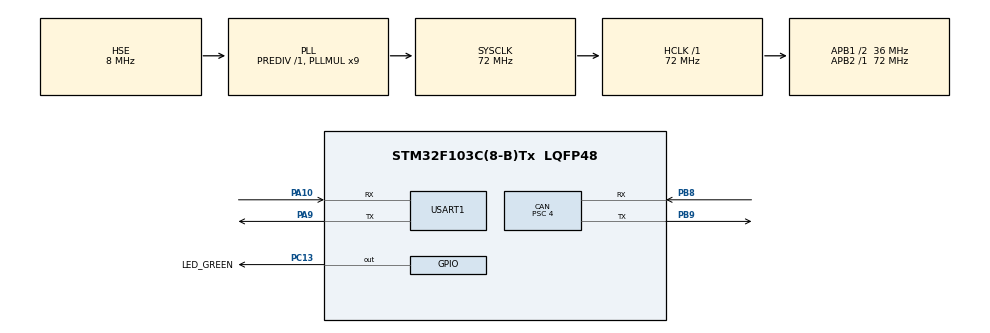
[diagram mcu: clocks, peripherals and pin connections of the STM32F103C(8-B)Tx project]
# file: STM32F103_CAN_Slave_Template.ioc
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CAN.ABOM=ENABLE
CAN.BS1=CAN_BS1_15TQ
CAN.BS2=CAN_BS2_2TQ
CAN.CalculateBaudRate=500000
CAN.CalculateTimeBit=2000
CAN.CalculateTimeQuantum=111.11111111111111
CAN.NART=ENABLE
CAN.Prescaler=4
FREERTOS.Tasks01=CanRxTask,24,256,StartCanRxTask,Default,NULL,Dynamic,NULL,NULL
Mcu.Family=STM32F1
Mcu.Name=STM32F103C(8-B)Tx
Mcu.Package=LQFP48
NVIC.PriorityGroup=NVIC_PRIORITYGROUP_4
NVIC.TIM4_IRQn=true\:15\:0\:false\:false\:true\:false\:false\:true\:true
NVIC.TimeBase=TIM4_IRQn
NVIC.TimeBaseIP=TIM4
NVIC.USB_LP_CAN1_RX0_IRQn=true\:5\:0\:false\:false\:true\:true\:true\:true\:true
PA10.Mode=Asynchronous
PA10.Signal=USART1_RX
PA13.Mode=Serial_Wire
PA13.Signal=SYS_JTMS-SWDIO
PA14.Mode=Serial_Wire
PA14.Signal=SYS_JTCK-SWCLK
PA9.Mode=Asynchronous
PA9.Signal=USART1_TX
PB8.Mode=CAN_Activate
PB8.Signal=CAN_RX
PB9.Mode=CAN_Activate
PB9.Signal=CAN_TX
PC13-TAMPER-RTC.GPIO_Label=LED_GREEN
PC13-TAMPER-RTC.Signal=GPIO_Output
PD0-OSC_IN.Mode=HSE-External-Oscillator
PD0-OSC_IN.Signal=RCC_OSC_IN
PD1-OSC_OUT.Mode=HSE-External-Oscillator
PD1-OSC_OUT.Signal=RCC_OSC_OUT
ProjectManager.HeapSize=0x200
ProjectManager.StackSize=0x400
ProjectManager.TargetToolchain=MDK-ARM V5.32
RCC.AHBFreq_Value=72000000
RCC.APB1CLKDivider=RCC_HCLK_DIV2
RCC.APB1Freq_Value=36000000
RCC.APB1TimFreq_Value=72000000
RCC.APB2Freq_Value=72000000
RCC.APB2TimFreq_Value=72000000
RCC.HCLKFreq_Value=72000000
RCC.PLLMUL=RCC_PLL_MUL9
RCC.PLLSourceVirtual=RCC_PLLSOURCE_HSE
RCC.SYSCLKFreq_VALUE=72000000
RCC.SYSCLKSource=RCC_SYSCLKSOURCE_PLLCLK
RCC.USBFreq_Value=72000000
USART1.VirtualMode=VM_ASYNC
VP_FREERTOS_VS_CMSIS_V2.Mode=CMSIS_V2
VP_SYS_VS_tim4.Mode=TIM4
board=custom

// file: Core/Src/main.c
/* USER CODE BEGIN Header */
/**
  ******************************************************************************
  * @file           : main.c
  * @brief          : Main program body
  ******************************************************************************
  * @attention
  *
  * Copyright (c) 2026 STMicroelectronics.
  * All rights reserved.
  *
  * This software is licensed under terms that can be found in the LICENSE file
  * in the root directory of this software component.
  * If no LICENSE file comes with this software, it is provided AS-IS.
  *
  ******************************************************************************
  */
/* USER CODE END Header */
#include "main.h"
#include "cmsis_os.h"
#include "can.h"
#include "usart.h"
#include "gpio.h"

void SystemClock_Config(void);
void MX_FREERTOS_Init(void);

/* USER CODE BEGIN 0 */

#include "stdio.h"
#include "usart.h"
int fputc(int ch, FILE *f) {
  HAL_UART_Transmit(&huart1, (uint8_t *)&ch, 1, 100);
  return ch;
}

/* USER CODE END 0 */

int main(void)
{

  /* MCU Configuration--------------------------------------------------------*/

  /* Reset of all peripherals, Initializes the Flash interface and the Systick. */
  HAL_Init();

  /* Configure the system clock */
  SystemClock_Config();

  /* Initialize all configured peripherals */
  MX_GPIO_Init();
  MX_CAN_Init();
  MX_USART1_UART_Init();
  /* USER CODE BEGIN 2 */

	CAN_FilterTypeDef sFilterConfig;
	sFilterConfig.FilterBank = 0;
	sFilterConfig.FilterMode = CAN_FILTERMODE_IDMASK;
	sFilterConfig.FilterScale = CAN_FILTERSCALE_32BIT;
	sFilterConfig.FilterIdHigh = 0x0000;
	sFilterConfig.FilterIdLow = 0x0000;
	sFilterConfig.FilterMaskIdHigh = 0x0000; // 掩码=0，接收所有ID
	sFilterConfig.FilterMaskIdLow = 0x0000; // 掩码=0，接收所有ID
	sFilterConfig.FilterFIFOAssignment = CAN_RX_FIFO0;
	sFilterConfig.FilterActivation = ENABLE;
	HAL_CAN_ConfigFilter(&hcan, &sFilterConfig);
	HAL_CAN_Start(&hcan);
	HAL_CAN_ActivateNotification(&hcan, CAN_IT_RX_FIFO0_MSG_PENDING);

  printf("STM32F103 CAN Slave Start OK\r\n");
  printf("Filter: receive ID range 0x100 ~ 0x10F\r\n");

  /* USER CODE END 2 */

  /* Init scheduler */
  osKernelInitialize();  /* Call init function for freertos objects (in cmsis_os2.c) */
  MX_FREERTOS_Init();

  /* Start scheduler */
  osKernelStart();

  /* We should never get here as control is now taken by the scheduler */

  /* Infinite loop */
  while (1)
  {

  }
}

void SystemClock_Config(void)
{
  RCC_OscInitTypeDef RCC_OscInitStruct = {0};
  RCC_ClkInitTypeDef RCC_ClkInitStruct = {0};

  /** Initializes the RCC Oscillators according to the specified parameters
  * in the RCC_OscInitTypeDef structure.
  */
  RCC_OscInitStruct.OscillatorType = RCC_OSCILLATORTYPE_HSE;
  RCC_OscInitStruct.HSEState = RCC_HSE_ON;
  RCC_OscInitStruct.HSEPredivValue = RCC_HSE_PREDIV_DIV1;
  RCC_OscInitStruct.HSIState = RCC_HSI_ON;
  RCC_OscInitStruct.PLL.PLLState = RCC_PLL_ON;
  RCC_OscInitStruct.PLL.PLLSource = RCC_PLLSOURCE_HSE;
  RCC_OscInitStruct.PLL.PLLMUL = RCC_PLL_MUL9;
  if (HAL_RCC_OscConfig(&RCC_OscInitStruct) != HAL_OK)
  {
    Error_Handler();
  }

  /** Initializes the CPU, AHB and APB buses clocks
  */
  RCC_ClkInitStruct.ClockType = RCC_CLOCKTYPE_HCLK|RCC_CLOCKTYPE_SYSCLK
                              |RCC_CLOCKTYPE_PCLK1|RCC_CLOCKTYPE_PCLK2;
  RCC_ClkInitStruct.SYSCLKSource = RCC_SYSCLKSOURCE_PLLCLK;
  RCC_ClkInitStruct.AHBCLKDivider = RCC_SYSCLK_DIV1;
  RCC_ClkInitStruct.APB1CLKDivider = RCC_HCLK_DIV2;
  RCC_ClkInitStruct.APB2CLKDivider = RCC_HCLK_DIV1;

  if (HAL_RCC_ClockConfig(&RCC_ClkInitStruct, FLASH_LATENCY_2) != HAL_OK)
  {
    Error_Handler();
  }
}

void HAL_TIM_PeriodElapsedCallback(TIM_HandleTypeDef *htim)
{
  if (htim->Instance == TIM4)
  {
    HAL_IncTick();
  }
}

void Error_Handler(void)
{
  __disable_irq();
  while (1)
  {
  }
}

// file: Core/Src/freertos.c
/* USER CODE BEGIN Header */
/**
  ******************************************************************************
  * File Name          : freertos.c
  * Description        : Code for freertos applications
  ******************************************************************************
  * @attention
  *
  * Copyright (c) 2026 STMicroelectronics.
  * All rights reserved.
  *
  * This software is licensed under terms that can be found in the LICENSE file
  * in the root directory of this software component.
  * If no LICENSE file comes with this software, it is provided AS-IS.
  *
  ******************************************************************************
  */
/* USER CODE END Header */

#include "FreeRTOS.h"
#include "task.h"
#include "main.h"
#include "cmsis_os.h"

/* USER CODE BEGIN Includes */
#include "can.h"
#include "stdio.h"
/* USER CODE END Includes */

/* USER CODE BEGIN PTD */
// 报文ID定义
#define CAN_ID_THROTTLE  0x100  // 油门ADC数据
#define CAN_ID_TEMP_HUM  0x101  // 温湿度数据

// CAN接收数据结构体
typedef struct {
  uint16_t throttle_adc;   // ADC油门值 0~4095
  int16_t  temperature;    // 温度值，单位0.1℃（例：256表示25.6℃）
  uint16_t humidity;       // 湿度值，单位0.1%RH（例：605表示60.5%RH）
  uint32_t rx_timestamp;   // 接收时间戳
} CanRxData_t;

CanRxData_t can_rx_data; // 全局接收数据缓存
/* USER CODE END PTD */

/* USER CODE BEGIN Variables */
/* Definitions for LedTask */
osThreadId_t LedTaskHandle;
const osThreadAttr_t LedTask_attributes = {
  .name = "LedTask",
  .stack_size = 128 * 4,
  .priority = (osPriority_t) osPriorityLow,
};
/* USER CODE END Variables */
/* Definitions for CanRxTask */
osThreadId_t CanRxTaskHandle;
const osThreadAttr_t CanRxTask_attributes = {
  .name = "CanRxTask",
  .stack_size = 256 * 4,
  .priority = (osPriority_t) osPriorityNormal,
};

/* USER CODE BEGIN FunctionPrototypes */
void StartLedTask(void *argument);
/* USER CODE END FunctionPrototypes */

void StartCanRxTask(void *argument);

void MX_FREERTOS_Init(void); /* (MISRA C 2004 rule 8.1) */

void MX_FREERTOS_Init(void) {

  /* Create the thread(s) */
  /* creation of CanRxTask */
  CanRxTaskHandle = osThreadNew(StartCanRxTask, NULL, &CanRxTask_attributes);

  /* USER CODE BEGIN RTOS_THREADS */
  /* add threads, ... */
  /* 创建LED心跳任务 */
  LedTaskHandle = osThreadNew(StartLedTask, NULL, &LedTask_attributes);
  /* USER CODE END RTOS_THREADS */

}

void StartCanRxTask(void *argument)
{
  for(;;)
  {
    osDelay(1);
  }
}

/* USER CODE BEGIN Application */

/**
  * @brief  LED心跳任务函数
  * @param  argument: Not used
  * @retval None
  */
void StartLedTask(void *argument)
{
  for(;;)
  {
    // 假设LED接在PC13引脚，根据实际硬件修改引脚定义
    HAL_GPIO_TogglePin(GPIOC, GPIO_PIN_13);
    osDelay(500); // 500ms闪烁周期
  }
}

void HAL_CAN_RxFifo0MsgPendingCallback(CAN_HandleTypeDef *hcan)
{
  CAN_RxHeaderTypeDef rx_header;
  uint8_t rx_data[8];

  if (HAL_CAN_GetRxMessage(hcan, CAN_RX_FIFO0, &rx_header, rx_data) == HAL_OK)
  {
    /* 收到CAN报文就翻转LED，证明中断触发 */
    HAL_GPIO_TogglePin(GPIOC, GPIO_PIN_13);

    can_rx_data.rx_timestamp = HAL_GetTick();

    switch(rx_header.StdId)
    {
      case CAN_ID_THROTTLE:
        if(rx_header.DLC >= 4)
        {
          // F407发送：字节2=ADC高8位，字节3=ADC低8位
          can_rx_data.throttle_adc = (uint16_t)(rx_data[2] << 8 | rx_data[3]);
          printf("[%lu] Throttle ADC: %d (0x%04X)\r\n",
                 can_rx_data.rx_timestamp,
                 can_rx_data.throttle_adc,
                 can_rx_data.throttle_adc);
        }
        break;

      case CAN_ID_TEMP_HUM:
        if(rx_header.DLC >= 4)
        {
          // 匹配F407的大端格式：温度高字节在字节0，低字节在字节1
          // 湿度高字节在字节2，低字节在字节3
          can_rx_data.temperature = (int16_t)(rx_data[0] << 8 | rx_data[1]);
          can_rx_data.humidity = (uint16_t)(rx_data[2] << 8 | rx_data[3]);
          printf("[%lu] Temp: %.1fC, Humidity: %.1f%%RH\r\n",
                 can_rx_data.rx_timestamp,
                 can_rx_data.temperature / 10.0f,
                 can_rx_data.humidity / 10.0f);
        }
        break;

      default:
        printf("Received reserved ID: 0x%X, Length: %d\r\n", rx_header.StdId, rx_header.DLC);
        break;
    }
  }
}

/* USER CODE END Application */
